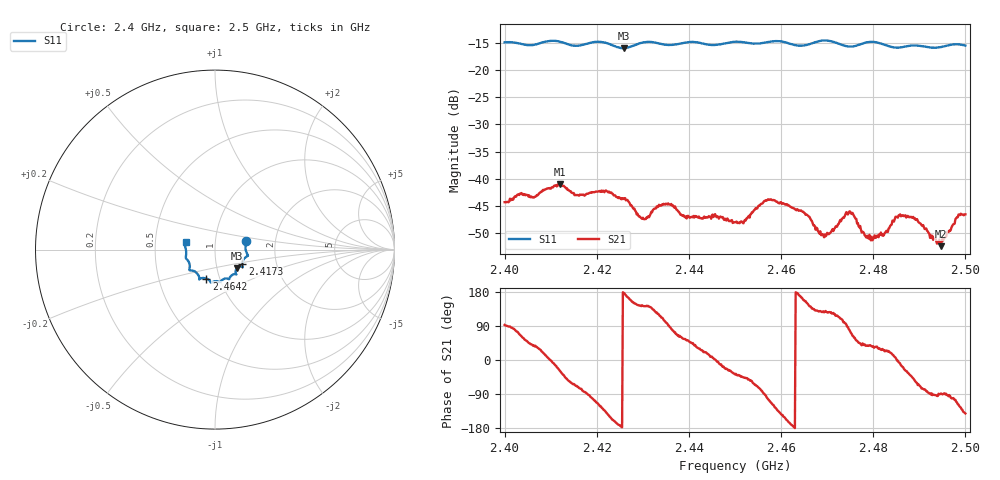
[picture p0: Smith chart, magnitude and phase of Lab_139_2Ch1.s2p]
# Hz S RI R 50
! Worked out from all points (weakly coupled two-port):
!   601 points, 2.4 GHz to 2.5 GHz, reference 50 ohm
!   highest |S21| = -41.07 dB at 2.412 GHz (marker M1); lowest = -52.5 dB at 2.4947 GHz (marker M2)
!   lowest |S11| = -15.9 dB at 2.4258 GHz (marker M3), VSWR 1.38, Z = 62.2 - j13.3 ohm
!   |S11| at or under -10 dB: start of sweep to end of sweep
!   S12 and S22 are empty: the file has one direction only
!   S11 on the Smith chart (normalised r, x): 2.4 GHz: 1.41, +0.14; 2.4173 GHz: 1.34, -0.23; 2.4642 GHz: 0.86, -0.29; 2.5 GHz: 0.72, +0.06
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2.4e9  0.1737 0.0493  -0.000258 0.00606  0 0  0 0
2.412e9  0.1797 -0.0366  0.00778 -0.00419  0 0  0 0
2.416667e9  0.1529 -0.0748  0.00169 -0.0069  0 0  0 0
2.417333e9  0.1523 -0.0823  0.000668 -0.00692  0 0  0 0
2.421833e9  0.1524 -0.0948  -0.00551 -0.00543  0 0  0 0
2.425833e9  0.1213 -0.1039  -0.00658 0.000304  0 0  0 0
2.430167e9  0.118 -0.1368  -0.00335 0.0026  0 0  0 0
2.433333e9  0.1125 -0.1365  -0.00291 0.00467  0 0  0 0
2.45e9  0.0293 -0.1807  0.00311 -0.00244  0 0  0 0
2.452167e9  0.022 -0.1787  0.00286 -0.00303  0 0  0 0
2.457167e9  -0.0144 -0.1813  -0.00145 -0.00628  0 0  0 0
2.464167e9  -0.0484 -0.1611  -0.00497 0.000978  0 0  0 0
2.466667e9  -0.0764 -0.1594  -0.00292 0.00283  0 0  0 0
2.469167e9  -0.0875 -0.1664  -0.00187 0.00234  0 0  0 0
2.474667e9  -0.1031 -0.1294  0.000686 0.0048  0 0  0 0
2.479e9  -0.1408 -0.1155  0.00223 0.00169  0 0  0 0
2.483333e9  -0.1405 -0.0894  0.00317 0.0014  0 0  0 0
2.485333e9  -0.146 -0.0686  0.00437 -0.000136  0 0  0 0
2.4885e9  -0.1619 -0.0485  0.00302 -0.00315  0 0  0 0
2.494667e9  -0.1632 0.00659  5.54e-05 -0.00238  0 0  0 0
2.498333e9  -0.1702 0.0331  -0.00195 -0.00395  0 0  0 0
2.5e9  -0.1635 0.0416  -0.00365 -0.00294  0 0  0 0
